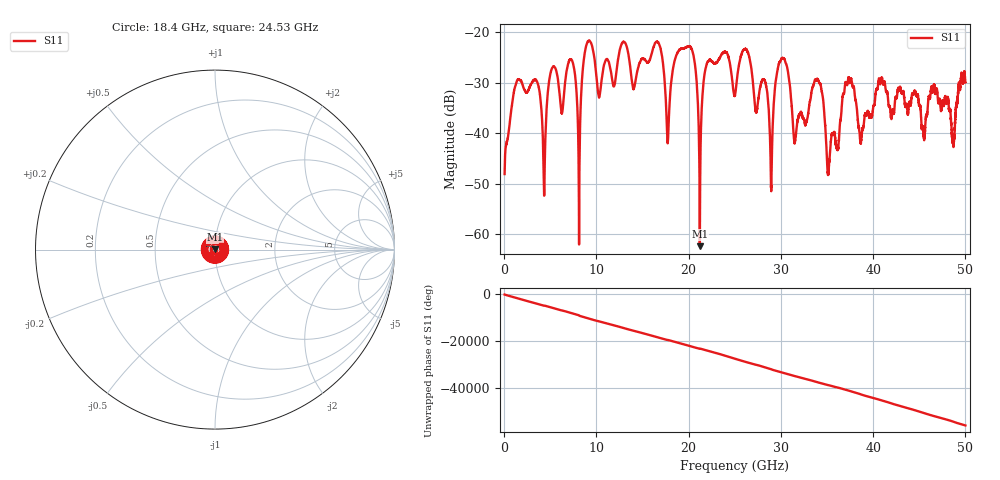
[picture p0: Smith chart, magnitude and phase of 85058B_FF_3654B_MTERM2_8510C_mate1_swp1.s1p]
!Created with skrf (http://scikit-rf.org).
# Hz S RI R 50.0
!freq ReS11 ImS11
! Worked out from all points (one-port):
!   10001 points, 45 MHz to 50 GHz, reference 50 ohm
!   lowest |S11| = -62.3 dB at 21.21 GHz (marker M1), VSWR 1.00, Z = 50.1 + j0.0563 ohm
!   |S11| at or under -10 dB: start of sweep to end of sweep
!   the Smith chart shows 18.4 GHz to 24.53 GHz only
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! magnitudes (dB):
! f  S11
! 45 MHz  -48.1
! 1.509 GHz  -29.3
! 3.582 GHz  -29.9
! 4.311 GHz  -51.1
! 5.18 GHz  -27.1
! 6.289 GHz  -36.0
! 7.323 GHz  -25.5
! 8.113 GHz  -61.2
! 9.032 GHz  -21.9
! 12.53 GHz  -23.4
! 16.7 GHz  -22.0
! 17.74 GHz  -41.6
! 18.78 GHz  -24.0
! 20.42 GHz  -23.9
! 21.21 GHz  -62.3
! 22.12 GHz  -25.8
! 25.02 GHz  -32.4
! 26.3 GHz  -23.6
! 28.94 GHz  -51.0
! 30.24 GHz  -25.1
! 31.27 GHz  -37.1
! 34.08 GHz  -29.6
! 35.17 GHz  -47.3
! 37.51 GHz  -29.9
! 38.67 GHz  -41.7
! 43.76 GHz  -36.3
! 48.67 GHz  -42.0
! 50 GHz  -30.0
